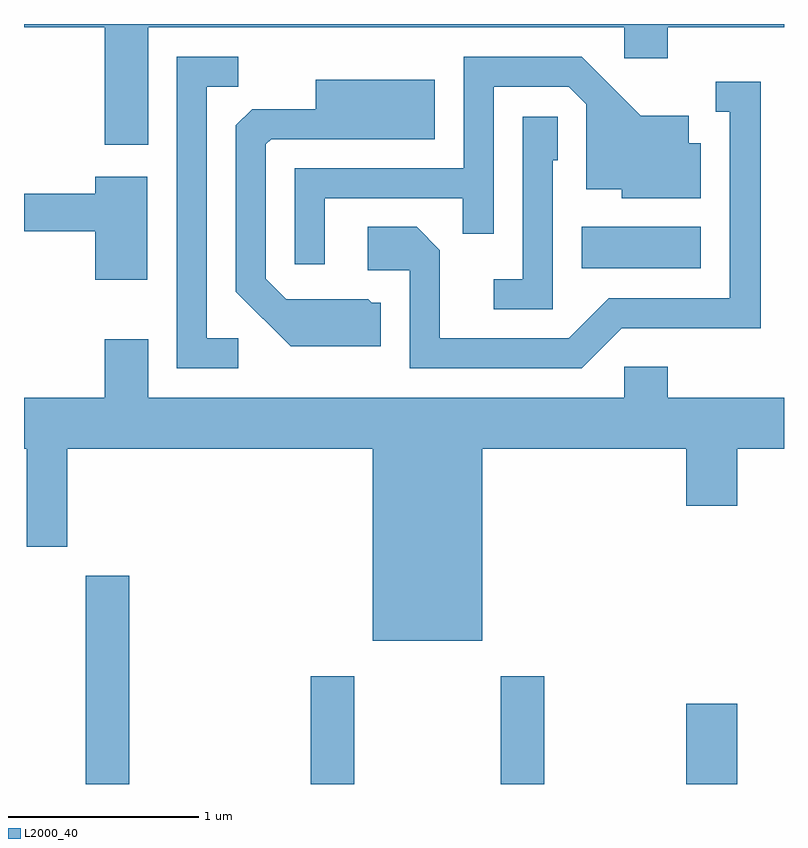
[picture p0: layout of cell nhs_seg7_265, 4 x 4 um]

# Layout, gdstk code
import gdstk
lib = gdstk.Library(unit=1e-6, precision=1e-09)
def R(c, l, rs):  # rectangles x0, y0, x1, y1
    for r in rs: c.add(gdstk.rectangle(r[:2], r[2:], *l))
def P(c, l, *ps):  # polygons
    for p in ps: c.add(gdstk.Polygon(p, *l))
L2000_40 = (2000, 40)

nhs_seg7_265 = lib.new_cell('nhs_seg7_265')
R(nhs_seg7_265, L2000_40, [(191.936,1790.252,192.164,1791.349), (193.121,1790.252,193.349,1790.819), (194.121,1790.252,194.349,1790.819), (195.096,1790.252,195.364,1790.674), (194.546,1792.966,195.174,1793.184)])
P(nhs_seg7_265, L2000_40, [(192.264,1794.236),(194.771,1794.236),(194.771,1794.071),(194.999,1794.071),(194.999,1794.236),(195.611,1794.236),(195.611,1794.252),(191.611,1794.252),(191.611,1794.236),(192.036,1794.236),(192.036,1793.616),(192.264,1793.616)],
  [(192.738,1792.599),(192.574,1792.599),(192.574,1793.921),(192.738,1793.921),(192.738,1794.079),(192.416,1794.079),(192.416,1792.441),(192.738,1792.441)],
  [(193.194,1793.336),(193.921,1793.336),(193.921,1793.148),(194.084,1793.148),(194.084,1793.921),(194.479,1793.921),(194.571,1793.829),(194.571,1793.381),(194.756,1793.381),(194.756,1793.336),(195.174,1793.336),(195.174,1793.624),(195.109,1793.624),(195.109,1793.769),(194.857,1793.769),(194.547,1794.079),(193.926,1794.079),(193.926,1793.494),(193.036,1793.494),(193.036,1792.988),(193.194,1792.988)],
  [(193.489,1792.784),(193.442,1792.784),(193.422,1792.804),(192.992,1792.804),(192.884,1792.912),(192.884,1793.619),(192.912,1793.646),(193.774,1793.646),(193.774,1793.959),(193.146,1793.959),(193.146,1793.804),(192.812,1793.804),(192.726,1793.719),(192.726,1792.844),(193.014,1792.556),(193.489,1792.556)],
  [(194.757,1792.651),(195.489,1792.651),(195.489,1793.949),(195.253,1793.949),(195.253,1793.791),(195.326,1793.791),(195.326,1792.809),(194.689,1792.809),(194.479,1792.599),(193.799,1792.599),(193.799,1793.062),(193.677,1793.184),(193.421,1793.184),(193.421,1792.956),(193.641,1792.956),(193.641,1792.441),(194.547,1792.441)],
  [(194.394,1793.536),(194.419,1793.536),(194.419,1793.764),(194.236,1793.764),(194.236,1792.909),(194.083,1792.909),(194.083,1792.751),(194.394,1792.751)],
  [(192.259,1793.449),(191.986,1793.449),(191.986,1793.359),(191.611,1793.359),(191.611,1793.161),(191.986,1793.161),(191.986,1792.906),(192.259,1792.906)],
  [(194.024,1792.016),(195.096,1792.016),(195.096,1791.716),(195.364,1791.716),(195.364,1792.016),(195.611,1792.016),(195.611,1792.284),(194.999,1792.284),(194.999,1792.449),(194.771,1792.449),(194.771,1792.284),(192.264,1792.284),(192.264,1792.594),(192.036,1792.594),(192.036,1792.284),(191.611,1792.284),(191.611,1792.016),(191.626,1792.016),(191.626,1791.501),(191.839,1791.501),(191.839,1792.016),(193.446,1792.016),(193.446,1791.006),(194.024,1791.006)])

lib.write_gds('nhs_seg7_265.gds')
